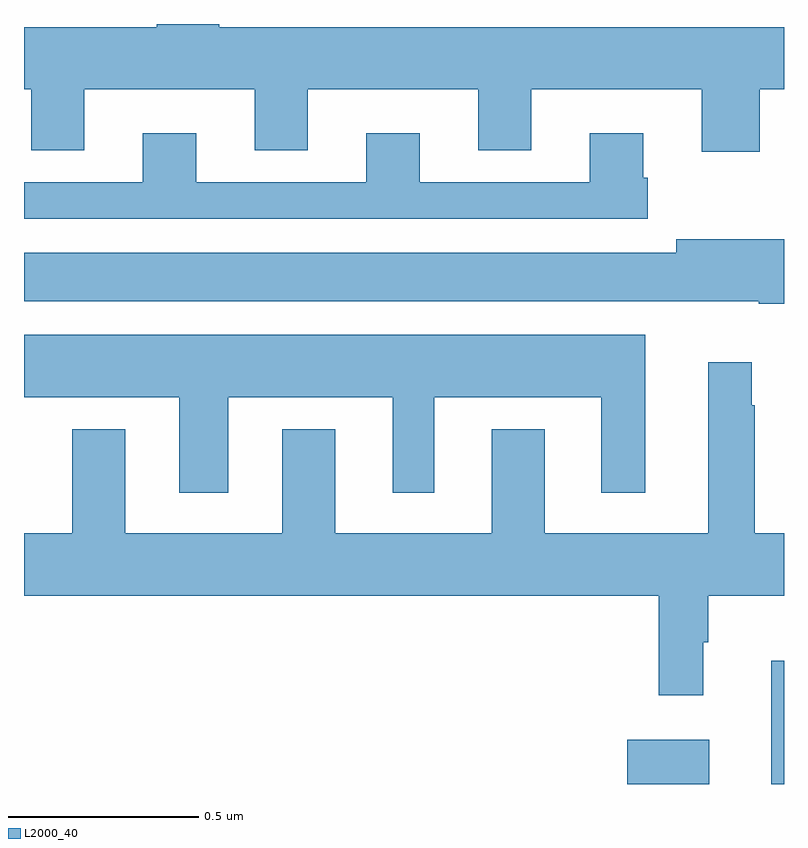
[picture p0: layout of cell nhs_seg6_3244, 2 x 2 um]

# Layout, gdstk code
import gdstk
lib = gdstk.Library(unit=1e-6, precision=1e-09)
def R(c, l, rs):  # rectangles x0, y0, x1, y1
    for r in rs: c.add(gdstk.rectangle(r[:2], r[2:], *l))
def P(c, l, *ps):  # polygons
    for p in ps: c.add(gdstk.Polygon(p, *l))
L2000_40 = (2000, 40)

nhs_seg6_3244 = lib.new_cell('nhs_seg6_3244')
R(nhs_seg6_3244, L2000_40, [(155.588,953.5,155.803,953.617), (155.966,953.5,156,953.824)])
P(nhs_seg6_3244, L2000_40, [(155.936,955.328),(156,955.328),(156,955.492),(154.514,955.492),(154.514,955.5),(154.349,955.5),(154.349,955.492),(154,955.492),(154,955.328),(154.019,955.328),(154.019,955.168),(154.159,955.168),(154.159,955.328),(154.607,955.328),(154.607,955.168),(154.747,955.168),(154.747,955.328),(155.195,955.328),(155.195,955.168),(155.335,955.168),(155.335,955.328),(155.783,955.328),(155.783,955.164),(155.936,955.164)],
  [(155.642,955.095),(155.629,955.095),(155.629,955.213),(155.489,955.213),(155.489,955.083),(155.041,955.083),(155.041,955.213),(154.901,955.213),(154.901,955.083),(154.453,955.083),(154.453,955.213),(154.313,955.213),(154.313,955.083),(154,955.083),(154,954.987),(155.642,954.987)],
  [(156,954.934),(155.717,954.934),(155.717,954.898),(154,954.898),(154,954.77),(155.934,954.77),(155.934,954.764),(156,954.764)],
  [(154.537,954.518),(154.97,954.518),(154.97,954.267),(155.08,954.267),(155.08,954.518),(155.519,954.518),(155.519,954.267),(155.635,954.267),(155.635,954.682),(154,954.682),(154,954.518),(154.409,954.518),(154.409,954.267),(154.537,954.267)],
  [(155.788,953.873),(155.8,953.873),(155.8,953.996),(156,953.996),(156,954.16),(155.923,954.16),(155.923,954.497),(155.915,954.497),(155.915,954.61),(155.801,954.61),(155.801,954.16),(155.371,954.16),(155.371,954.433),(155.231,954.433),(155.231,954.16),(154.819,954.16),(154.819,954.433),(154.679,954.433),(154.679,954.16),(154.267,954.16),(154.267,954.433),(154.127,954.433),(154.127,954.16),(154,954.16),(154,953.996),(155.671,953.996),(155.671,953.733),(155.788,953.733)])

lib.write_gds('nhs_seg6_3244.gds')
